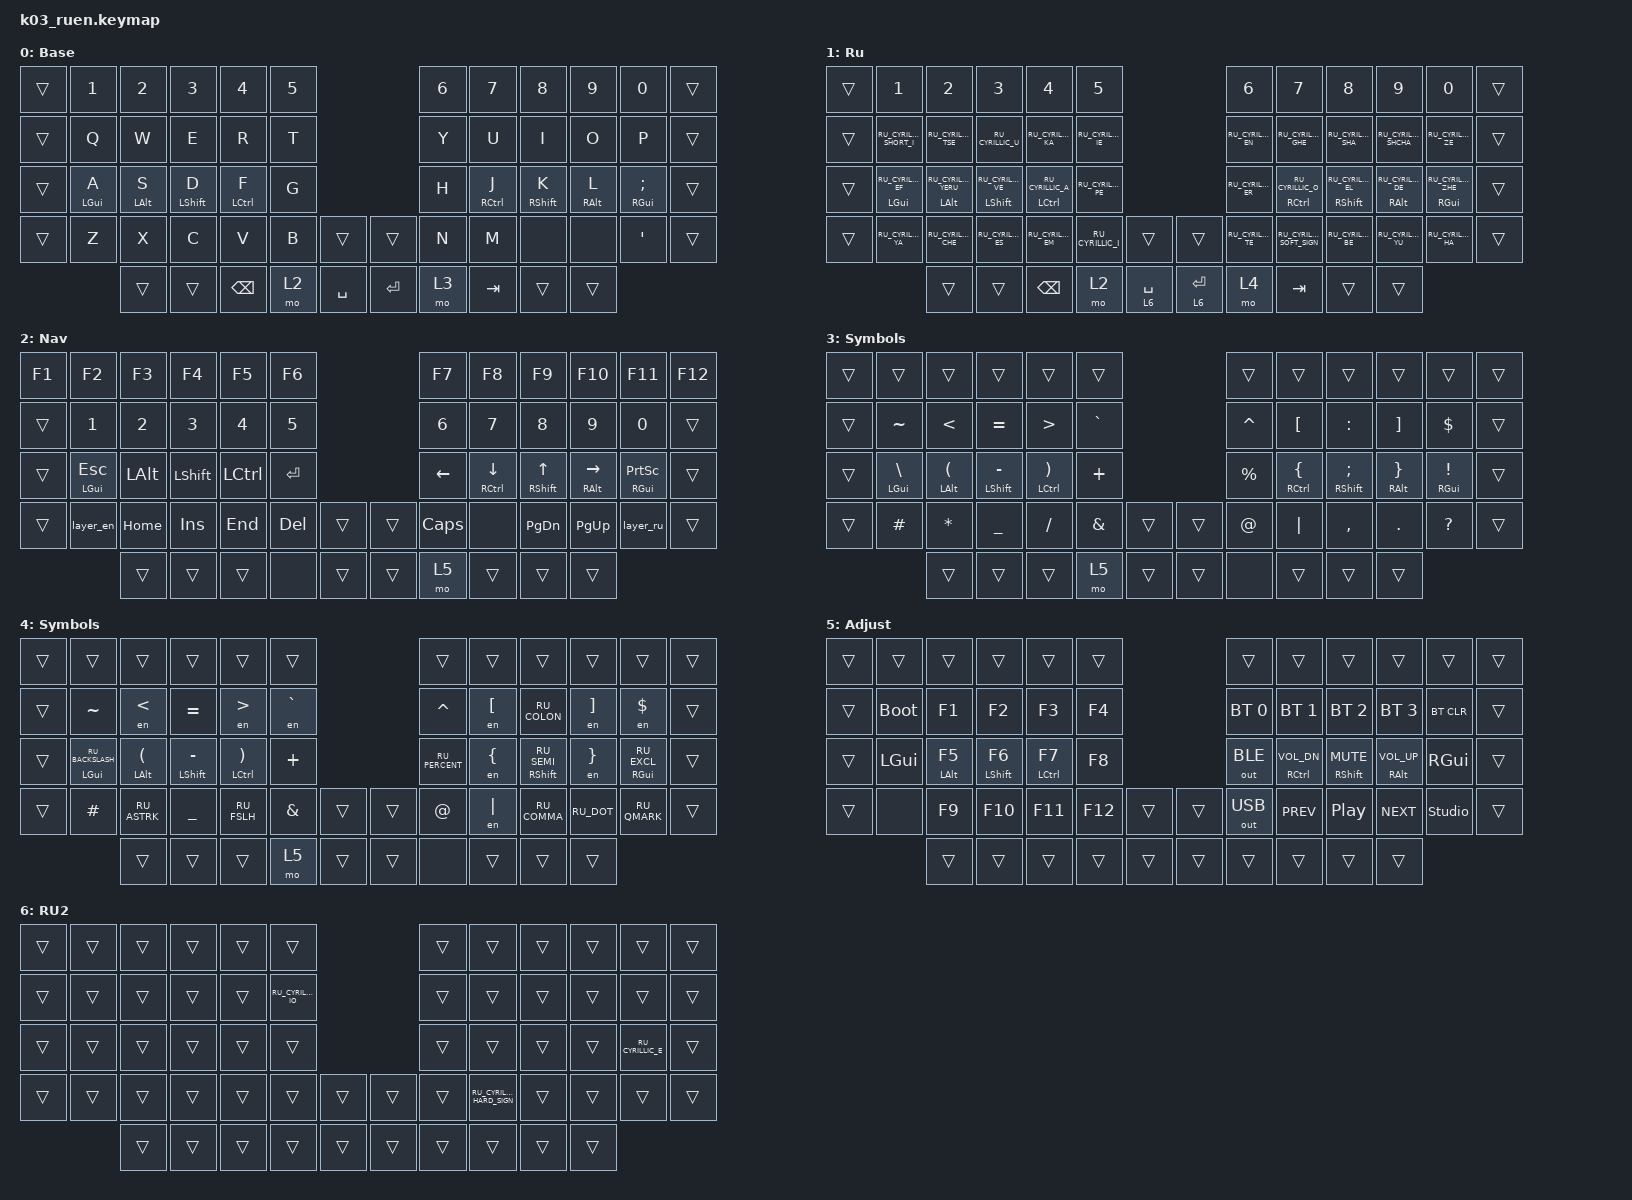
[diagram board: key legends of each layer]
#include "keys_ru.h"
#include <behaviors.dtsi>
#include <dt-bindings/zmk/bt.h>
#include <dt-bindings/zmk/keys.h>
#include <dt-bindings/zmk/outputs.h>

&mt {
    quick-tap-ms = <200>;
    require-prior-idle-ms = <125>;
    flavor = "tap-preferred";
};

/ {
    behaviors {
        hml: home_row_mod_left {
            compatible = "zmk,behavior-hold-tap";
            bindings = <&kp>, <&kp>;

            #binding-cells = <2>;
            tapping-term-ms = <280>;
            quick-tap-ms = <175>;
            require-prior-idle-ms = <150>;
            flavor = "balanced";
            hold-trigger-key-positions = <19 20 21 22 31 32 33 34 45 46 47 18 30 44 55 56 57 48>;
            hold-trigger-on-release;
        };

        hmr: home_row_mod_right {
            compatible = "zmk,behavior-hold-tap";
            bindings = <&kp>, <&kp>;

            #binding-cells = <2>;
            tapping-term-ms = <280>;
            quick-tap-ms = <175>;
            require-prior-idle-ms = <150>;
            flavor = "balanced";
            hold-trigger-key-positions = <13 14 15 16 25 26 27 28 37 38 39 40 52 53 54 17 29 41>;
            hold-trigger-on-release;
        };
    };

    combos {
        compatible = "zmk,combos";

        cmben {
            bindings = <&layer_en>;
            key-positions = <15 16>;
            layers = <1>;
        };

        cmbru {
            bindings = <&layer_ru>;
            key-positions = <15 16>;
            layers = <0>;
        };
    };

    macros {
        to_ru: to_ru {
            compatible = "zmk,behavior-macro";
            #binding-cells = <0>;
            bindings = <&kp LS(LC(N2))>;
            label = "TO_RU";
            wait-ms = <0>;
            tap-ms = <30>;
        };

        to_en: to_en {
            compatible = "zmk,behavior-macro";
            #binding-cells = <0>;
            bindings = <&kp LS(LC(N1))>;
            label = "TO_EN";
            wait-ms = <0>;
            tap-ms = <30>;
        };

        layer_en: layer_en {
            compatible = "zmk,behavior-macro";
            #binding-cells = <0>;
            bindings = <&to 0 &to_en>;
            label = "LAYER_EN";
            wait-ms = <0>;
            tap-ms = <30>;
        };

        layer_ru: layer_ru {
            compatible = "zmk,behavior-macro";
            #binding-cells = <0>;
            bindings = <&to 1 &to_ru>;
            label = "LAYER_RU";
            tap-ms = <30>;
            wait-ms = <0>;
        };

        en: en {
            compatible = "zmk,behavior-macro-one-param";
            #binding-cells = <1>;
            bindings =
                <&to_en>,
                <&macro_press>,
                <&macro_param_1to1 &kp MACRO_PLACEHOLDER>,
                <&macro_pause_for_release>,
                <&macro_release>,
                <&macro_param_1to1 &kp MACRO_PLACEHOLDER>,
                <&macro_tap>,
                <&to_ru>;

            label = "EN";
            wait-ms = <0>;
            tap-ms = <30>;
        };
    };

    keymap {
        compatible = "zmk,keymap";

        en {
            bindings = <
&trans  &kp N1       &kp N2       &kp N3        &kp N4         &kp N5                           &kp N6  &kp N7        &kp N8        &kp N9       &kp N0          &trans
&trans  &kp Q        &kp W        &kp E         &kp R          &kp T                            &kp Y   &kp U         &kp I         &kp O        &kp P           &trans
&trans  &hml LGUI A  &hml LALT S  &hml LSHFT D  &hml LCTRL F   &kp G                            &kp H   &hmr RCTRL J  &hmr RSHFT K  &hmr RALT L  &hmr RGUI SEMI  &trans
&trans  &kp Z        &kp X        &kp C         &kp V          &kp B   &trans       &trans      &kp N   &kp M         &none         &none        &kp SQT         &trans
                     &trans       &trans        &kp BACKSPACE  &mo 2   &kp SPACE    &kp RETURN  &mo 3   &kp TAB       &trans        &trans
            >;

            display-name = "Base";
        };

        ru {
            display-name = "Ru";
            bindings = <
&trans  &kp N1                    &kp N2                      &kp N3                     &kp N4                    &kp N5                                           &kp N6              &kp N7                     &kp N8                     &kp N9                    &kp N0                     &trans
&trans  &kp RU_CYRILLIC_SHORT_I   &kp RU_CYRILLIC_TSE         &kp RU_CYRILLIC_U          &kp RU_CYRILLIC_KA        &kp RU_CYRILLIC_IE                               &kp RU_CYRILLIC_EN  &kp RU_CYRILLIC_GHE        &kp RU_CYRILLIC_SHA        &kp RU_CYRILLIC_SHCHA     &kp RU_CYRILLIC_ZE         &trans
&trans  &hml LGUI RU_CYRILLIC_EF  &hml LALT RU_CYRILLIC_YERU  &hml LSHFT RU_CYRILLIC_VE  &hml LCTRL RU_CYRILLIC_A  &kp RU_CYRILLIC_PE                               &kp RU_CYRILLIC_ER  &hmr RCTRL RU_CYRILLIC_O   &hmr RSHFT RU_CYRILLIC_EL  &hmr RALT RU_CYRILLIC_DE  &hmr RGUI RU_CYRILLIC_ZHE  &trans
&trans  &kp RU_CYRILLIC_YA        &kp RU_CYRILLIC_CHE         &kp RU_CYRILLIC_ES         &kp RU_CYRILLIC_EM        &kp RU_CYRILLIC_I   &trans         &trans        &kp RU_CYRILLIC_TE  &kp RU_CYRILLIC_SOFT_SIGN  &kp RU_CYRILLIC_BE         &kp RU_CYRILLIC_YU        &kp RU_CYRILLIC_HA         &trans
                                  &trans                      &trans                     &kp BACKSPACE             &mo 2               &lt 6 SPACE    &lt 6 RETURN  &mo 4               &kp TAB                    &trans                     &trans
            >;
        };

        nav {
            bindings = <
&kp F1  &kp F2         &kp F3    &kp F4      &kp F5     &kp F6                     &kp F7    &kp F8           &kp F9         &kp F10          &kp F11          &kp F12
&trans  &kp N1         &kp N2    &kp N3      &kp N4     &kp N5                     &kp N6    &kp N7           &kp N8         &kp N9           &kp N0           &trans
&trans  &hml LGUI ESC  &kp LALT  &kp LSHIFT  &kp LCTRL  &kp RET                    &kp LEFT  &hmr RCTRL DOWN  &hmr RSHFT UP  &hmr RALT RIGHT  &hmr RGUI PSCRN  &trans
&trans  &layer_en      &kp HOME  &kp INS     &kp END    &kp DEL  &trans    &trans  &kp CAPS  &none            &kp PG_DN      &kp PG_UP        &layer_ru        &trans
                       &trans    &trans      &trans     &none    &trans    &trans  &mo 5     &trans           &trans         &trans
            >;

            display-name = "Nav";
        };

        sym_en {
            bindings = <
&trans  &trans          &trans          &trans            &trans           &trans                       &trans     &trans           &trans           &trans          &trans          &trans
&trans  &kp TILDE       &kp LT          &kp EQUAL         &kp GT           &kp GRAVE                    &kp CARET  &kp LBKT         &kp COLON        &kp RBKT        &kp DLLR        &trans
&trans  &hml LGUI BSLH  &hml LALT LPAR  &hml LSHFT MINUS  &hml LCTRL RPAR  &kp PLUS                     &kp PRCNT  &hmr RCTRL LBRC  &hmr RSHFT SEMI  &hmr RALT RBRC  &hmr RGUI EXCL  &trans
&trans  &kp HASH        &kp STAR        &kp UNDERSCORE    &kp FSLH         &kp AMPS   &trans    &trans  &kp AT     &kp PIPE         &kp COMMA        &kp DOT         &kp QMARK       &trans
                        &trans          &trans            &trans           &mo 5      &trans    &trans  &none      &trans           &trans           &trans
            >;

            display-name = "Symbols";
        };

        sym_ru {
            display-name = "Symbols";
            bindings = <
&trans  &trans                  &trans          &trans            &trans           &trans                       &trans          &trans    &trans              &trans      &trans             &trans
&trans  &kp TILDE               &en LT          &kp EQUAL         &en GT           &en GRAVE                    &kp CARET       &en LBKT  &kp RU_COLON        &en RBKT    &en DLLR           &trans
&trans  &hml LGUI RU_BACKSLASH  &hml LALT LPAR  &hml LSHFT MINUS  &hml LCTRL RPAR  &kp PLUS                     &kp RU_PERCENT  &en LBRC  &hmr RSHFT RU_SEMI  &en RBRC    &hmr RGUI RU_EXCL  &trans
&trans  &kp HASH                &kp RU_ASTRK    &kp UNDER         &kp RU_FSLH      &kp AMPS   &trans    &trans  &kp AT          &en PIPE  &kp RU_COMMA        &kp RU_DOT  &kp RU_QMARK       &trans
                                &trans          &trans            &trans           &mo 5      &trans    &trans  &none           &trans    &trans              &trans
            >;
        };

        adj {
            bindings = <
&trans  &trans       &trans            &trans         &trans         &trans                     &trans        &trans               &trans             &trans              &trans          &trans
&trans  &bootloader  &kp F1            &kp F2         &kp F3         &kp F4                     &bt BT_SEL 0  &bt BT_SEL 1         &bt BT_SEL 2       &bt BT_SEL 3        &bt BT_CLR      &trans
&trans  &kp LGUI     &hml LEFT_ALT F5  &hml LSHFT F6  &hml LCTRL F7  &kp F8                     &out OUT_BLE  &hmr RCTRL C_VOL_DN  &hmr RSHFT C_MUTE  &hmr RALT C_VOL_UP  &kp RGUI        &trans
&trans  &none        &kp F9            &kp F10        &kp F11        &kp F12  &trans    &trans  &out OUT_USB  &kp C_PREV           &kp C_PLAY_PAUSE   &kp C_NEXT          &studio_unlock  &trans
                     &trans            &trans         &trans         &trans   &trans    &trans  &trans        &trans               &trans             &trans
            >;

            display-name = "Adjust";
        };

        RU2 {
            bindings = <
&trans  &trans  &trans  &trans  &trans  &trans                                &trans  &trans                     &trans  &trans  &trans             &trans
&trans  &trans  &trans  &trans  &trans  &kp RU_CYRILLIC_IO                    &trans  &trans                     &trans  &trans  &trans             &trans
&trans  &trans  &trans  &trans  &trans  &trans                                &trans  &trans                     &trans  &trans  &kp RU_CYRILLIC_E  &trans
&trans  &trans  &trans  &trans  &trans  &trans              &trans    &trans  &trans  &kp RU_CYRILLIC_HARD_SIGN  &trans  &trans  &trans             &trans
                &trans  &trans  &trans  &trans              &trans    &trans  &trans  &trans                     &trans  &trans
            >;
        };
    };

    conditional_layers { compatible = "zmk,conditional-layers"; };
};
